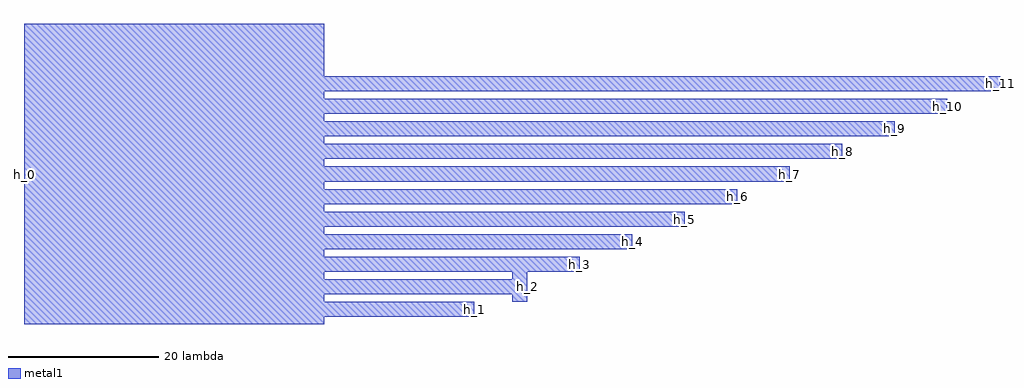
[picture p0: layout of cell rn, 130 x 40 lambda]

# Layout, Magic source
magic
tech exttest
<< metal1 >>
rect 100 100 140 140
rect 140 101 160 103
rect 140 104 167 106
rect 140 107 174 109
rect 140 110 181 112
rect 140 113 188 115
rect 140 116 195 118
rect 140 119 202 121
rect 140 122 209 124
rect 140 125 216 127
rect 140 128 223 130
rect 140 131 230 133
rect 165 103 167 108
<< labels >>
rlabel metal1 100 120 100 120 0 h_0
port 1 nsew
rlabel metal1 160 101 160 103 0 h_1
port 2 nsew
rlabel metal1 167 104 167 106 0 h_2
port 3 nsew
rlabel metal1 174 107 174 109 0 h_3
port 4 nsew
rlabel metal1 181 110 181 112 0 h_4
port 5 nsew
rlabel metal1 188 113 188 115 0 h_5
port 6 nsew
rlabel metal1 195 116 195 118 0 h_6
port 7 nsew
rlabel metal1 202 119 202 121 0 h_7
port 8 nsew
rlabel metal1 209 122 209 124 0 h_8
port 9 nsew
rlabel metal1 216 125 216 127 0 h_9
port 10 nsew
rlabel metal1 223 128 223 130 0 h_10
port 11 nsew
rlabel metal1 230 131 230 133 0 h_11
port 12 nsew
<< end >>
